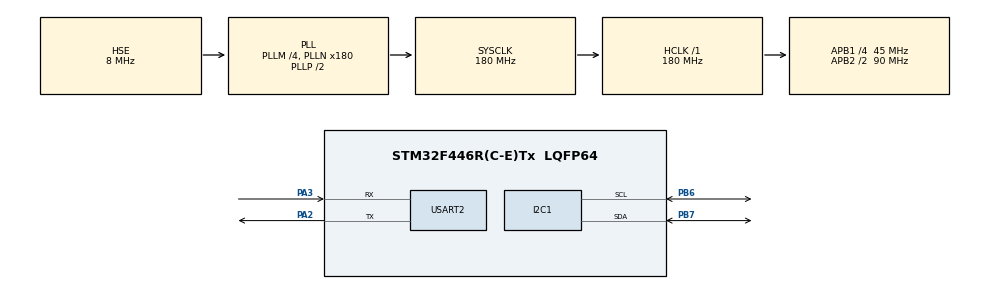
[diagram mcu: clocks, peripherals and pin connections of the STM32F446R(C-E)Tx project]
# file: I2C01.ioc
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Mcu.Family=STM32F4
Mcu.Name=STM32F446R(C-E)Tx
Mcu.Package=LQFP64
NVIC.PriorityGroup=NVIC_PRIORITYGROUP_4
PA13.Mode=Serial_Wire
PA13.Signal=SYS_JTMS-SWDIO
PA14.Mode=Serial_Wire
PA14.Signal=SYS_JTCK-SWCLK
PA2.Mode=Asynchronous
PA2.Signal=USART2_TX
PA3.Mode=Asynchronous
PA3.Signal=USART2_RX
PB6.GPIO_Pu=GPIO_PULLUP
PB6.Mode=I2C
PB6.Signal=I2C1_SCL
PB7.GPIO_Pu=GPIO_PULLUP
PB7.Mode=I2C
PB7.Signal=I2C1_SDA
PH0-OSC_IN.Mode=HSE-External-Oscillator
PH0-OSC_IN.Signal=RCC_OSC_IN
PH1-OSC_OUT.Mode=HSE-External-Oscillator
PH1-OSC_OUT.Signal=RCC_OSC_OUT
ProjectManager.HeapSize=0x200
ProjectManager.StackSize=0x400
ProjectManager.TargetToolchain=STM32CubeIDE
RCC.AHBFreq_Value=180000000
RCC.APB1CLKDivider=RCC_HCLK_DIV4
RCC.APB1Freq_Value=45000000
RCC.APB1TimFreq_Value=90000000
RCC.APB2CLKDivider=RCC_HCLK_DIV2
RCC.APB2Freq_Value=90000000
RCC.APB2TimFreq_Value=180000000
RCC.CortexFreq_Value=180000000
RCC.HCLKFreq_Value=180000000
RCC.HSE_VALUE=8000000
RCC.PLLM=4
RCC.PLLN=180
RCC.PLLSourceVirtual=RCC_PLLSOURCE_HSE
RCC.SYSCLKFreq_VALUE=180000000
RCC.SYSCLKSource=RCC_SYSCLKSOURCE_PLLCLK
RCC.USBFreq_Value=180000000
RCC.VCOOutputFreq_Value=360000000
USART2.VirtualMode=VM_ASYNC
board=custom

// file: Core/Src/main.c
/* USER CODE BEGIN Header */
/**
 ******************************************************************************
 * @file           : main.c
 * @brief          : Main program body
 ******************************************************************************
 * @attention
 *
 * Copyright (c) 2026 STMicroelectronics.
 * All rights reserved.
 *
 * This software is licensed under terms that can be found in the LICENSE file
 * in the root directory of this software component.
 * If no LICENSE file comes with this software, it is provided AS-IS.
 *
 ******************************************************************************
 */
/* USER CODE END Header */
#include "main.h"

/* USER CODE BEGIN Includes */
#include <stdio.h>
#include <string.h>
#include "HD44780U_Helpers.h"
/* USER CODE END Includes */

/* USER CODE BEGIN PD */
#define LCD_ADDRESS        (0x27 << 1)
#define LCD_REGISTER_SELECT 0x01
#define LCD_ENABLE          0x04
#define LCD_BACKLIGHT       0x08
/* USER CODE END PD */

I2C_HandleTypeDef hi2c1;

UART_HandleTypeDef huart2;

void SystemClock_Config(void);
static void MX_GPIO_Init(void);
static void MX_USART2_UART_Init(void);
static void MX_I2C1_Init(void);

/* USER CODE BEGIN 0 */

// Single nibble with EN pulse (used for init)
void lcd_write_nibble(uint8_t nibble, uint8_t rs)
{
	uint8_t data = LCD_BACKLIGHT | rs | (nibble << 4);
	uint8_t buf[2] =
			{ data | LCD_ENABLE, data };

	HAL_StatusTypeDef status = HAL_I2C_Master_Transmit(&hi2c1, LCD_ADDRESS, buf, 2, 100);

	if (status != HAL_OK)
	{
		printf("I2C failed — no ACK from device at 0x27\r\n");
	}
}

// Full byte in 4-bit mode: two nibbles, each with EN pulse
void lcd_write_byte(uint8_t byte, uint8_t rs)
{
	lcd_write_nibble((byte >> 4) & 0x0F, rs);
	lcd_write_nibble(byte & 0x0F, rs);
}

void lcd_init(void)
{
	HAL_Delay(50);  // wait for LCD power-on stabilization

	// Send 0x3 three times (upper nibble only, single EN pulse)
	lcd_write_nibble(0x3, 0);
	HAL_Delay(5);
	lcd_write_nibble(0x3, 0);
	HAL_Delay(1);
	lcd_write_nibble(0x3, 0);
	HAL_Delay(1);

	// Send 0x2 to switch to 4-bit mode
	lcd_write_nibble(0x2, 0);
	HAL_Delay(1);

	// Now in 4-bit mode — send full commands (two nibbles each)
	lcd_write_byte(0x28, 0);  // Function set: 4-bit, 2 lines, 5x8
	lcd_write_byte(0x08, 0);  // Display off
	lcd_write_byte(0x01, 0);  // Clear display
	HAL_Delay(2);
	lcd_write_byte(0x06, 0);  // Entry mode: increment, no shift
	lcd_write_byte(0x0C, 0);  // Display on, cursor off
}

void lcd_clear()
{
	lcd_write_byte(0x01, 0);  // RS=0 → command
	HAL_Delay(2);
}

void lcd_set_cursor(uint8_t line, uint8_t col)
{
	uint8_t addr = (line == 0) ? col : (0x40 + col);
	lcd_write_byte(0x80 | addr, 0);
}

void lcd_print(const char *str)
{
	while (*str)
	{
		lcd_write_byte(*str++, LCD_REGISTER_SELECT);  // RS=1 → data
	}
}

void ScanU2CAddresses()
{
	printf("\r\n\nStarting I2C Scan...\r\n");

	for (uint8_t i = 0; i < 128; i++)
	{
		if (HAL_I2C_IsDeviceReady(&hi2c1, (uint16_t) (i << 1), 3, 5) == HAL_OK)
		{
			printf("%2X ", i);
		}
		else
		{
			printf("-- ");
		}

		if (i > 0 && (i + 1) % 16 == 0)
		{
			printf("\r\n");
		}
	}

	printf("\r\nScan Complete...\r\n\r\n\r\n");
}

int _write(int file, char *ptr, int len)
{
	if (file == 1)
	{
		HAL_StatusTypeDef hstatus = HAL_UART_Transmit(&huart2, (uint8_t*) ptr, len, HAL_MAX_DELAY);

		if (hstatus == HAL_OK)
		{
			return len;
		}

		return -1;
	}
	else if (file == 2)
	{
		for (int i = 0; i < len; i++)
		{
			// This can be used when debugging
			ITM_SendChar(ptr[i]);
		}
		return len;
	}
	else
	{
		return -1;
	}
}

/* USER CODE END 0 */

int main(void)
{

	/* MCU Configuration--------------------------------------------------------*/

	/* Reset of all peripherals, Initializes the Flash interface and the Systick. */
	HAL_Init();

	/* Configure the system clock */
	SystemClock_Config();

	/* Initialize all configured peripherals */
	MX_GPIO_Init();
	MX_USART2_UART_Init();
	MX_I2C1_Init();
	/* USER CODE BEGIN 2 */
	printf("\r\n\r\n\r\nStarting I2C 01 v7...\r\n");

	ScanU2CAddresses();

	lcd_init();

	/* USER CODE END 2 */

	/* Infinite loop */
	/* USER CODE BEGIN WHILE */

	uint32_t now = 0;
	uint32_t loop_cnt = 0;
	uint32_t next_blink = 500;
	uint32_t next_tick = 1000;
	char buf[128];

	while (1)
	{
		now = uwTick; // number of milliseconds since power on or reset

		if (now >= next_blink)
		{
			//HAL_GPIO_TogglePin(LED_GPIO_Port, LED_Pin);

			next_blink = now + 500;

		}

		if (now >= next_tick)
		{
			printf("Tick: %lu (Loop Count: %lu)\r\n", now / 1000, loop_cnt);

			lcd_clear();
			snprintf(buf, sizeof(buf), "Tick: %lu", now / 1000);
			lcd_print(buf);
			lcd_set_cursor(1, 0);
			snprintf(buf, sizeof(buf), "Loop Count: %lu", loop_cnt);
			lcd_print(buf);

			loop_cnt = 0;

			next_tick = now + 1000;
		}

		++loop_cnt;
		/* USER CODE END WHILE */

	}
}

void SystemClock_Config(void)
{
	RCC_OscInitTypeDef RCC_OscInitStruct =
			{ 0 };
	RCC_ClkInitTypeDef RCC_ClkInitStruct =
			{ 0 };

	/** Configure the main internal regulator output voltage
	 */
	__HAL_RCC_PWR_CLK_ENABLE();
	__HAL_PWR_VOLTAGESCALING_CONFIG(PWR_REGULATOR_VOLTAGE_SCALE1);

	/** Initializes the RCC Oscillators according to the specified parameters
	 * in the RCC_OscInitTypeDef structure.
	 */
	RCC_OscInitStruct.OscillatorType = RCC_OSCILLATORTYPE_HSE;
	RCC_OscInitStruct.HSEState = RCC_HSE_ON;
	RCC_OscInitStruct.PLL.PLLState = RCC_PLL_ON;
	RCC_OscInitStruct.PLL.PLLSource = RCC_PLLSOURCE_HSE;
	RCC_OscInitStruct.PLL.PLLM = 4;
	RCC_OscInitStruct.PLL.PLLN = 180;
	RCC_OscInitStruct.PLL.PLLP = RCC_PLLP_DIV2;
	RCC_OscInitStruct.PLL.PLLQ = 2;
	RCC_OscInitStruct.PLL.PLLR = 2;
	if (HAL_RCC_OscConfig(&RCC_OscInitStruct) != HAL_OK)
	{
		Error_Handler();
	}

	/** Activate the Over-Drive mode
	 */
	if (HAL_PWREx_EnableOverDrive() != HAL_OK)
	{
		Error_Handler();
	}

	/** Initializes the CPU, AHB and APB buses clocks
	 */
	RCC_ClkInitStruct.ClockType = RCC_CLOCKTYPE_HCLK | RCC_CLOCKTYPE_SYSCLK
			| RCC_CLOCKTYPE_PCLK1 | RCC_CLOCKTYPE_PCLK2;
	RCC_ClkInitStruct.SYSCLKSource = RCC_SYSCLKSOURCE_PLLCLK;
	RCC_ClkInitStruct.AHBCLKDivider = RCC_SYSCLK_DIV1;
	RCC_ClkInitStruct.APB1CLKDivider = RCC_HCLK_DIV4;
	RCC_ClkInitStruct.APB2CLKDivider = RCC_HCLK_DIV2;

	if (HAL_RCC_ClockConfig(&RCC_ClkInitStruct, FLASH_LATENCY_5) != HAL_OK)
	{
		Error_Handler();
	}
}

static void MX_I2C1_Init(void)
{

	hi2c1.Instance = I2C1;
	hi2c1.Init.ClockSpeed = 100000;
	hi2c1.Init.DutyCycle = I2C_DUTYCYCLE_2;
	hi2c1.Init.OwnAddress1 = 0;
	hi2c1.Init.AddressingMode = I2C_ADDRESSINGMODE_7BIT;
	hi2c1.Init.DualAddressMode = I2C_DUALADDRESS_DISABLE;
	hi2c1.Init.OwnAddress2 = 0;
	hi2c1.Init.GeneralCallMode = I2C_GENERALCALL_DISABLE;
	hi2c1.Init.NoStretchMode = I2C_NOSTRETCH_DISABLE;
	if (HAL_I2C_Init(&hi2c1) != HAL_OK)
	{
		Error_Handler();
	}

}

static void MX_USART2_UART_Init(void)
{

	huart2.Instance = USART2;
	huart2.Init.BaudRate = 115200;
	huart2.Init.WordLength = UART_WORDLENGTH_8B;
	huart2.Init.StopBits = UART_STOPBITS_1;
	huart2.Init.Parity = UART_PARITY_NONE;
	huart2.Init.Mode = UART_MODE_TX_RX;
	huart2.Init.HwFlowCtl = UART_HWCONTROL_NONE;
	huart2.Init.OverSampling = UART_OVERSAMPLING_16;
	if (HAL_UART_Init(&huart2) != HAL_OK)
	{
		Error_Handler();
	}

}

static void MX_GPIO_Init(void)
{

	/* GPIO Ports Clock Enable */
	__HAL_RCC_GPIOH_CLK_ENABLE();
	__HAL_RCC_GPIOA_CLK_ENABLE();
	__HAL_RCC_GPIOB_CLK_ENABLE();

}

void Error_Handler(void)
{
	__disable_irq();
	while (1)
	{
	}
}
